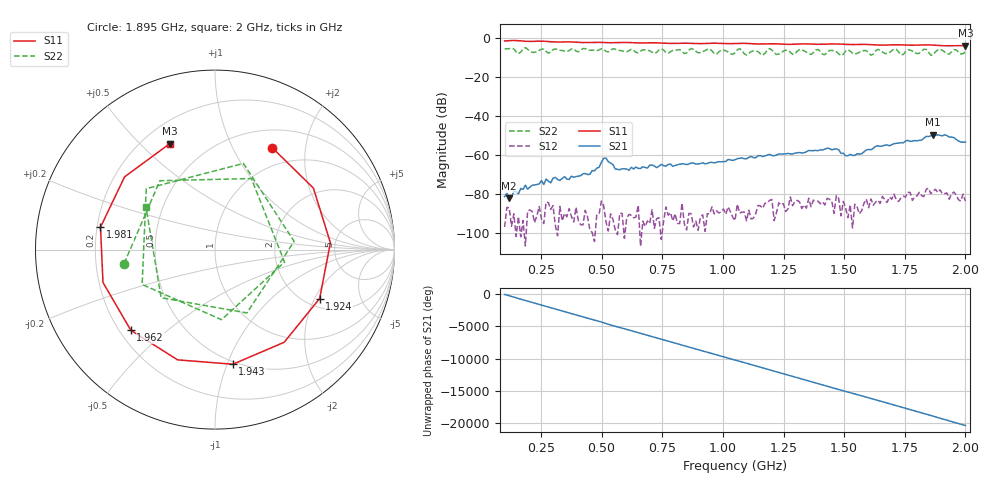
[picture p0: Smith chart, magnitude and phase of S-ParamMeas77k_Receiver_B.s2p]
!Keysight Technologies,N5242B,MY48420967,A.15.65.19
!Date: Saturday, February 04, 2023 06:06:04
!Correction: S11(C  1-Port  )
!S21(Off)
!S12(Off)
!S22(Off)
!S2P File: Measurements: S11, S21, S12, S22:
# Hz S  dB  R 50
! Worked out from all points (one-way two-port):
!   201 points, 100 MHz to 2 GHz, reference 50 ohm
!   highest |S21| = -49.55 dB at 1.867 GHz (marker M1); lowest = -82.1 dB at 119 MHz (marker M2)
!   lowest |S11| = -3.8 dB at 2 GHz (marker M3), VSWR 4.59, Z = 15.4 + j30.8 ohm
!   |S11| at or under -10 dB: nowhere
!   |S22| runs from -8.9 to -4.8 dB; largest |S21 - S12| = 0.0034
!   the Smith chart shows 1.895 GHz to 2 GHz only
!   S11 on the Smith chart (normalised r, x): 1.895 GHz: 0.73, +1.44; 1.924 GHz: 2.36, -2.20; 1.943 GHz: 0.48, -1.05; 1.962 GHz: 0.24, -0.38; 1.981 GHz: 0.21, +0.09; 2 GHz: 0.31, +0.62
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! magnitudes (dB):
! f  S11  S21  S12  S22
! 100 MHz  -1.4  -81.3  -96.9  -5.5
! 119 MHz  -1.2  -82.1  -87.0  -5.3
! 157 MHz  -1.2  -79.9  -91.5  -7.9
! 185.5 MHz  -1.5  -75.4  -106.6  -4.8
! 280.5 MHz  -1.7  -73.3  -84.3  -7.6
! 423 MHz  -2.2  -69.6  -95.8  -5.3
! 451.5 MHz  -2.1  -69.8  -98.2  -6.2
! 518 MHz  -2.2  -61.5  -94.2  -6.7
! 575 MHz  -2.2  -67.5  -89.8  -6.3
! 736.5 MHz  -2.4  -65.6  -92.1  -6.0
! 1.05 GHz  -2.7  -62.3  -93.6  -7.4
! 1.373 GHz  -3.0  -57.7  -83.1  -7.4
! 1.544 GHz  -3.2  -60.1  -85.2  -8.1
! 1.687 GHz  -3.4  -55.2  -81.5  -7.3
! 1.829 GHz  -3.4  -51.3  -81.3  -5.6
! 1.867 GHz  -3.5  -49.6  -78.4  -8.5
! 1.895 GHz  -3.7  -49.8  -77.8  -5.8
! 1.924 GHz  -3.8  -50.0  -79.4  -8.1
! 1.943 GHz  -3.8  -50.7  -79.8  -6.9
! 1.962 GHz  -3.7  -51.9  -80.4  -5.9
! 1.981 GHz  -3.7  -53.3  -83.6  -8.1
! 2 GHz  -3.8  -53.3  -83.6  -6.9
